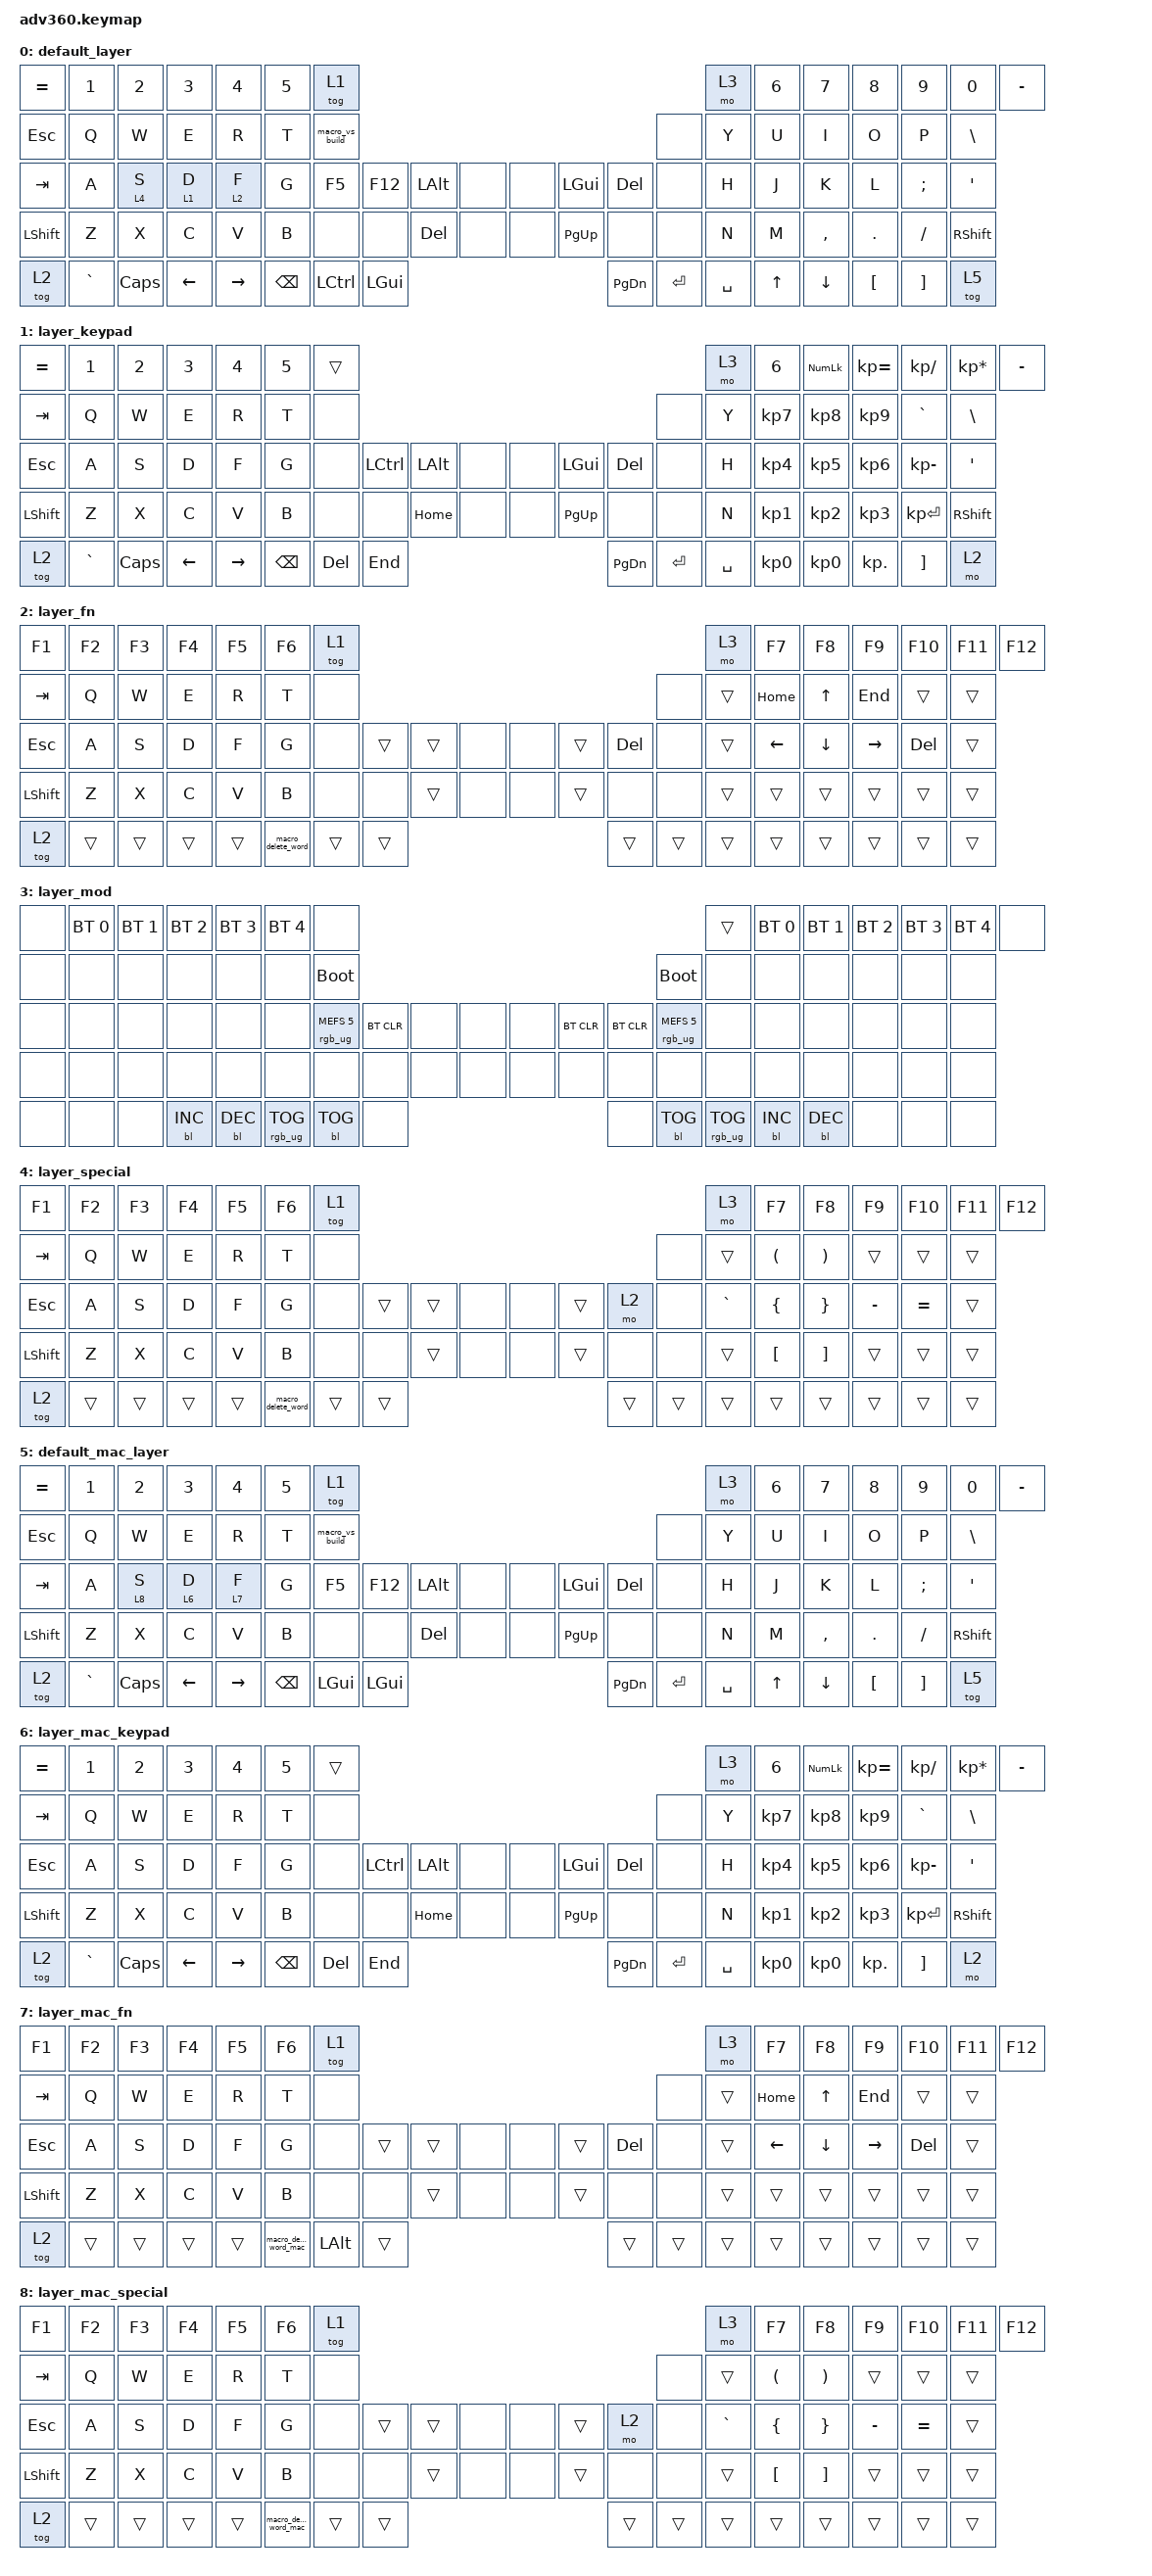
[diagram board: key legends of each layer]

/*
 * Copyright (c) 2020 The ZMK Contributors
 *
 * SPDX-License-Identifier: MIT
 */


/* THIS FILE WAS GENERATED!
 *
 * This file was generated automatically. You may or may not want to
 * edit it directly. revert please
 */

#include <behaviors.dtsi>
#include <dt-bindings/zmk/keys.h>
#include <dt-bindings/zmk/bt.h>
#include <dt-bindings/zmk/rgb.h>
#include <dt-bindings/zmk/backlight.h>

#define KEYS_LEFT 0 1 2 3 4 5 6 \
                  14 15 16 17 18 19 20 \
                  28 29 30 31 32 33 34 \
                  46 47 48 49 50 51 \
                  66 67 68 69 70

#define KEYS_RIGHT 7 8 9 10 11 12 13 \
                   21 22 23 24 25 26 27 \
                   39 40 41 42 43 44 45 \
                   60 61 62 63 64 65 \
                   77 78 79 80 81

#define THUMBS_LEFT 35 36 54 71 72 73

#define THUMBS_RIGHT 37 38 57 74 75 76

#define THUMBS THUMBS_LEFT THUMBS_RIGHT

/ {
  behaviors {
    #include "macros.dtsi"

	hm: homerow_mods {
		compatible = "zmk,behavior-hold-tap";
		label = "HOMEROW_MODS";
		#binding-cells = <2>;
		tapping-term-ms = <200>;
		quick_tap_ms = <175>;
		flavor = "tap-unless-interrupted";
		bindings = <&kp>, <&kp>;
		};

	pht: positional_hold_tap {
		compatible = "zmk,behavior-hold-tap";
		label = "POSITIONAL_HOLD_TAP";
		#binding-cells = <2>;
		flavor = "tap-unless-interrupted";
		tapping-term-ms = <400>;
		quick-tap-ms = <200>;
		bindings = <&kp>, <&kp>;
		hold-trigger-key-positions = <KEYS_RIGHT THUMBS>;
		};

	hm_l: homerow_mods_left {
        compatible = "zmk,behavior-hold-tap";
        label = "HOMEROW_MODS_LEFT";
        #binding-cells = <2>;
        tapping-term-ms = <200>;
        quick_tap_ms = <175>;
        flavor = "balanced";
        bindings = <&kp>, <&kp>;
        hold-trigger-key-positions = <KEYS_RIGHT THUMBS>;
		};

    hm_r: homerow_mods_right {
        compatible = "zmk,behavior-hold-tap";
        label = "HOMEROW_MODS_RIGHT";
        #binding-cells = <2>;
        tapping-term-ms = <200>;
        quick_tap_ms = <175>;
        flavor = "balanced";
        bindings = <&kp>, <&kp>;
        hold-trigger-key-positions = <KEYS_LEFT THUMBS>;
		};
	};
    

	keymap {
		compatible = "zmk,keymap";


        default_layer {
            bindings = <
 &kp EQUAL      &kp N1    &kp N2    &kp N3     &kp N4  &kp N5              &tog 1                                                                 &mo 3  &kp N6  &kp N7     &kp N8    &kp N9    &kp N0  &kp MINUS
   &kp ESC      &kp Q     &kp W     &kp E      &kp R   &kp T               &macro_vs_build                                                                &none   &kp Y   &kp U      &kp I     &kp O     &kp P   &kp BSLH
   &kp TAB      &kp A     &lt 4 S   &lt 1 D    &lt 2 F  &kp G               &kp F5  &kp F12  &kp LALT   &none   &none   &kp LGUI  &kp DEL      &none   &kp H   &kp J      &kp K     &kp L  &kp SEMI    &kp SQT
 &kp LSHFT      &kp Z     &kp X     &kp C      &kp V   &kp B               &none      &none  &kp DEL   &none   &none  &kp PG_UP      &none      &none   &kp N   &kp M  &kp COMMA   &kp DOT  &kp FSLH  &kp RSHFT
     &tog 2  &kp GRAVE  &kp CAPS  &kp LEFT  &kp RIGHT                    &kp BSPC  &kp LCTRL   &kp LGUI                  &kp PG_DN  &kp ENTER  &kp SPACE          &kp UP   &kp DOWN  &kp LBKT  &kp RBKT      &tog 5
            >;
        };

        layer_keypad {
            bindings = <
 &kp EQUAL     &kp N1    &kp N2    &kp N3     &kp N4  &kp N5              &trans                                                                 &mo 3  &kp N6  &kp KP_NUM  &kp KP_EQUAL  &kp KP_DIVIDE  &kp KP_MULTIPLY  &kp MINUS
   &kp TAB      &kp Q     &kp W     &kp E      &kp R   &kp T               &none                                                                 &none   &kp Y   &kp KP_N7     &kp KP_N8      &kp KP_N9     &kp GRAVE   &kp BSLH
   &kp ESC      &kp A     &kp S     &kp D      &kp F   &kp G               &none  &kp LCTRL  &kp LALT   &none   &none   &kp LGUI  &kp DEL      &none   &kp H   &kp KP_N4     &kp KP_N5      &kp KP_N6      &kp KP_MINUS    &kp SQT
 &kp LSHFT      &kp Z     &kp X     &kp C      &kp V   &kp B               &none      &none  &kp HOME   &none   &none  &kp PG_UP      &none      &none   &kp N   &kp KP_N1     &kp KP_N2      &kp KP_N3     &kp KP_ENTER  &kp RSHFT
     &tog 2  &kp GRAVE  &kp CAPS  &kp LEFT  &kp RIGHT                    &kp BSPC    &kp DEL   &kp END                  &kp PG_DN  &kp ENTER  &kp SPACE              &kp KP_N0      &kp KP_N0     &kp KP_DOT         &kp RBKT      &mo 2
            >;
        };

        layer_fn {
            bindings = <
 &kp F1  &kp F2  &kp F3  &kp F4  &kp F5  &kp F6            &tog 1                                                   &mo 3  &kp F7  &kp F8  &kp F9  &kp F10  &kp F11  &kp F12
   &kp TAB      &kp Q     &kp W     &kp E      &kp R   &kp T             &none                                                   &none  &trans  &kp HOME  &kp UP   &kp END   &trans   &trans
   &kp ESC      &kp A     &kp S     &kp D      &kp F   &kp G             &none  &trans  &trans   &none   &none  &trans  &kp DEL   &none  &trans  &kp LEFT  &kp DOWN   &kp RIGHT   &kp DEL   &trans
 &kp LSHFT      &kp Z     &kp X     &kp C      &kp V   &kp B             &none   &none  &trans   &none   &none  &trans   &none   &none  &trans  &trans  &trans   &trans   &trans   &trans
 &tog 2  &trans  &trans  &trans  &trans                    &macro_delete_word  &trans  &trans                  &trans  &trans  &trans          &trans  &trans   &trans   &trans   &trans
            >;
        };

        layer_mod {
            bindings = <
  &none  &bt BT_SEL 0  &bt BT_SEL 1  &bt BT_SEL 2  &bt BT_SEL 3  &bt BT_SEL 4                             &none                                                                              &trans  &bt BT_SEL 0  &bt BT_SEL 1  &bt BT_SEL 2  &bt BT_SEL 3  &bt BT_SEL 4   &none
  &none         &none         &none         &none         &none         &none                       &bootloader                                                                         &bootloader         &none         &none         &none         &none         &none   &none
  &none         &none         &none         &none         &none         &none            &rgb_ug RGB_MEFS_CMD 5  &bt BT_CLR   &none   &none   &none  &bt BT_CLR  &bt BT_CLR  &rgb_ug RGB_MEFS_CMD 5         &none         &none         &none         &none         &none   &none
  &none         &none         &none         &none         &none         &none                             &none       &none   &none   &none   &none       &none       &none                   &none         &none         &none         &none         &none         &none   &none
  &none         &none         &none    &bl BL_INC    &bl BL_DEC                                 &rgb_ug RGB_TOG  &bl BL_TOG   &none                       &none  &bl BL_TOG         &rgb_ug RGB_TOG                  &bl BL_INC    &bl BL_DEC         &none         &none   &none
            >;
        };

        layer_special {
            bindings = <
 &kp F1  &kp F2  &kp F3  &kp F4  &kp F5  &kp F6            &tog 1                                                   &mo 3  &kp F7  &kp F8  &kp F9  &kp F10  &kp F11  &kp F12
   &kp TAB      &kp Q     &kp W     &kp E      &kp R   &kp T             &none                                                   &none  &trans  &kp LPAR  &kp RPAR   &trans   &trans   &trans
   &kp ESC      &kp A     &kp S     &kp D      &kp F   &kp G             &none  &trans  &trans   &none   &none  &trans  &mo 2   &none  &kp GRAVE  &kp LBRC  &kp RBRC   &kp MINUS   &kp EQUAL   &trans
 &kp LSHFT      &kp Z     &kp X     &kp C      &kp V   &kp B             &none   &none  &trans   &none   &none  &trans   &none   &none  &trans  &kp LBKT  &kp RBKT   &trans   &trans   &trans
 &tog 2  &trans  &trans  &trans  &trans                    &macro_delete_word  &trans  &trans                  &trans  &trans  &trans          &trans  &trans   &trans   &trans   &trans
            >;
        };

		default_mac_layer {
            bindings = <
 &kp EQUAL     &kp N1    &kp N2    &kp N3     &kp N4  &kp N5              &tog 1                                                                 &mo 3  &kp N6  &kp N7     &kp N8    &kp N9    &kp N0  &kp MINUS
   &kp ESC      &kp Q     &kp W     &kp E      &kp R   &kp T               &macro_vs_build                                                                &none   &kp Y   &kp U      &kp I     &kp O     &kp P   &kp BSLH
   &kp TAB      &kp A     &lt 8 S     &lt 6 D      &lt 7 F   &kp G               &kp F5  &kp F12  &kp LALT   &none   &none   &kp LGUI  &kp DEL      &none   &kp H   &kp J      &kp K     &kp L  &kp SEMI    &kp SQT
 &kp LSHFT      &kp Z     &kp X     &kp C      &kp V   &kp B               &none      &none  &kp DEL   &none   &none  &kp PG_UP      &none      &none   &kp N   &kp M  &kp COMMA   &kp DOT  &kp FSLH  &kp RSHFT
     &tog 2  &kp GRAVE  &kp CAPS  &kp LEFT  &kp RIGHT                    &kp BSPC  &kp LEFT_GUI   &kp LGUI                  &kp PG_DN  &kp ENTER  &kp SPACE          &kp UP   &kp DOWN  &kp LBKT  &kp RBKT      &tog 5
            >;
        };

		layer_mac_keypad {
            bindings = <
 &kp EQUAL     &kp N1    &kp N2    &kp N3     &kp N4  &kp N5              &trans                                                                 &mo 3  &kp N6  &kp KP_NUM  &kp KP_EQUAL  &kp KP_DIVIDE  &kp KP_MULTIPLY  &kp MINUS
   &kp TAB      &kp Q     &kp W     &kp E      &kp R   &kp T               &none                                                                 &none   &kp Y   &kp KP_N7     &kp KP_N8      &kp KP_N9     &kp GRAVE   &kp BSLH
   &kp ESC      &kp A     &kp S     &kp D      &kp F   &kp G               &none  &kp LCTRL  &kp LALT   &none   &none   &kp LGUI  &kp DEL      &none   &kp H   &kp KP_N4     &kp KP_N5      &kp KP_N6      &kp KP_MINUS    &kp SQT
 &kp LSHFT      &kp Z     &kp X     &kp C      &kp V   &kp B               &none      &none  &kp HOME   &none   &none  &kp PG_UP      &none      &none   &kp N   &kp KP_N1     &kp KP_N2      &kp KP_N3     &kp KP_ENTER  &kp RSHFT
     &tog 2  &kp GRAVE  &kp CAPS  &kp LEFT  &kp RIGHT                    &kp BSPC    &kp DEL   &kp END                  &kp PG_DN  &kp ENTER  &kp SPACE              &kp KP_N0      &kp KP_N0     &kp KP_DOT         &kp RBKT      &mo 2
            >;
        };

        layer_mac_fn {
            bindings = <
 &kp F1  &kp F2  &kp F3  &kp F4  &kp F5  &kp F6            &tog 1                                                   &mo 3  &kp F7  &kp F8  &kp F9  &kp F10  &kp F11  &kp F12
   &kp TAB      &kp Q     &kp W     &kp E      &kp R   &kp T             &none                                                   &none  &trans  &kp HOME  &kp UP   &kp END   &trans   &trans
   &kp ESC      &kp A     &kp S     &kp D      &kp F   &kp G             &none  &trans  &trans   &none   &none  &trans  &kp DEL   &none  &trans  &kp LEFT  &kp DOWN   &kp RIGHT   &kp DEL   &trans
 &kp LSHFT      &kp Z     &kp X     &kp C      &kp V   &kp B             &none   &none  &trans   &none   &none  &trans   &none   &none  &trans  &trans  &trans   &trans   &trans   &trans
 &tog 2  &trans  &trans  &trans  &trans                    &macro_delete_word_mac  &kp LALT  &trans                  &trans  &trans  &trans          &trans  &trans   &trans   &trans   &trans
            >;
        };

		layer_mac_special {
            bindings = <
 &kp F1  &kp F2  &kp F3  &kp F4  &kp F5  &kp F6            &tog 1                                                   &mo 3  &kp F7  &kp F8  &kp F9  &kp F10  &kp F11  &kp F12
   &kp TAB      &kp Q     &kp W     &kp E      &kp R   &kp T             &none                                                   &none  &trans  &kp LPAR  &kp RPAR   &trans   &trans   &trans
   &kp ESC      &kp A     &kp S     &kp D      &kp F   &kp G             &none  &trans  &trans   &none   &none  &trans  &mo 2   &none  &kp GRAVE  &kp LBRC  &kp RBRC   &kp MINUS   &kp EQUAL   &trans
 &kp LSHFT      &kp Z     &kp X     &kp C      &kp V   &kp B             &none   &none  &trans   &none   &none  &trans   &none   &none  &trans  &kp LBKT  &kp RBKT   &trans   &trans   &trans
 &tog 2  &trans  &trans  &trans  &trans                    &macro_delete_word_mac  &trans  &trans                  &trans  &trans  &trans          &trans  &trans   &trans   &trans   &trans
            >;
        };
    };
};
/ { chosen { zmk,matrix_transform = &default_transform; }; };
